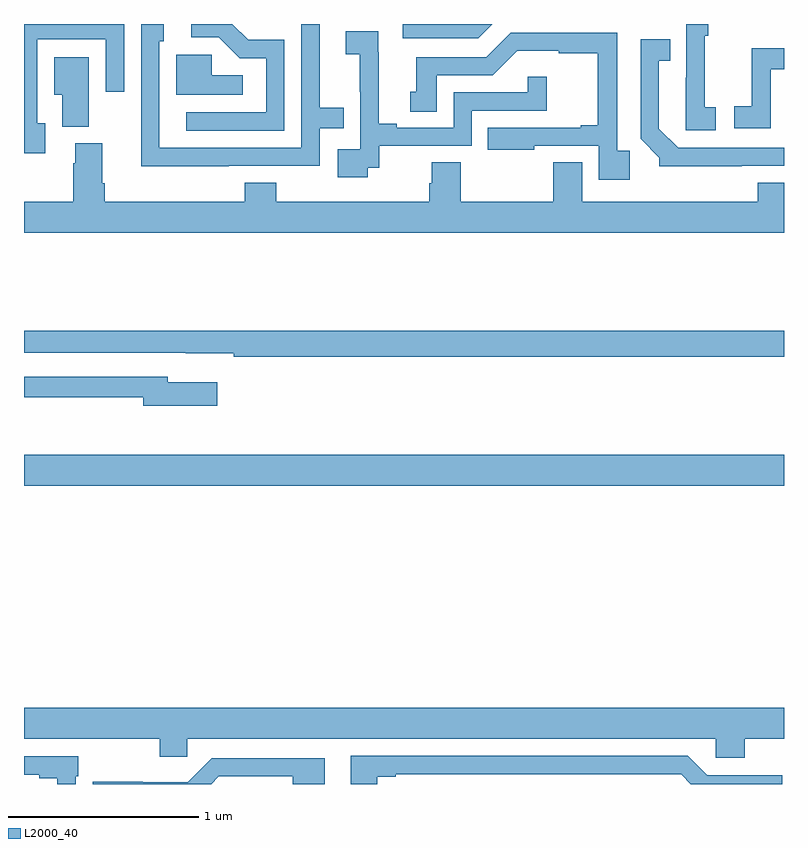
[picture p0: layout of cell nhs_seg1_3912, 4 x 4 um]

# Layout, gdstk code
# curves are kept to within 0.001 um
import gdstk
lib = gdstk.Library(unit=1e-6, precision=1e-09)
def R(c, l, rs):  # rectangles x0, y0, x1, y1
    for r in rs: c.add(gdstk.rectangle(r[:2], r[2:], *l))
def P(c, l, *ps):  # polygons
    for p in ps: c.add(gdstk.Polygon(p, *l))
L2000_40 = (2000, 40)

nhs_seg1_3912 = lib.new_cell('nhs_seg1_3912')
R(nhs_seg1_3912, L2000_40, [(325,515.768,329,515.932)])
P(nhs_seg1_3912, L2000_40, [(328.642,517.761),(328.584,517.761),(328.584,518.137),(328.601,518.137),(328.601,518.199),(328.485,518.199),(328.485,517.916),(328.484,517.916),(328.484,517.641),(328.642,517.641)],
  [(325.111,517.677),(325.071,517.677),(325.071,518.118),(325.431,518.118),(325.431,517.842),(325.527,517.842),(325.527,518.199),(325,518.199),(325,517.52),(325.111,517.52)],
  [(326.37,518.115),(326.181,518.115),(326.097,518.199),(325.881,518.199),(325.881,518.13),(326.025,518.13),(326.136,518.019),(326.274,518.019),(326.274,517.734),(325.854,517.734),(325.854,517.638),(326.37,517.638)],
  [(326.078,517.452),(326.556,517.452),(326.556,517.65),(326.684,517.65),(326.684,517.759),(326.557,517.759),(326.557,518.199),(326.46,518.199),(326.46,517.548),(325.713,517.548),(325.713,518.109),(325.735,518.109),(325.735,518.199),(325.617,518.199),(325.617,517.754),(325.616,517.754),(325.616,517.451),(326.078,517.451)],
  [(327.465,518.199),(326.994,518.199),(326.994,518.124),(327.39,518.124)],
  [(326.808,517.443),(326.87,517.443),(326.87,517.557),(327.357,517.557),(327.357,517.743),(327.752,517.743),(327.752,517.921),(327.651,517.921),(327.651,517.839),(327.261,517.839),(327.261,517.653),(326.962,517.653),(326.962,517.673),(326.866,517.673),(326.866,518.051),(326.864,518.051),(326.864,518.162),(326.694,518.162),(326.694,518.041),(326.768,518.041),(326.768,517.843),(326.769,517.843),(326.769,517.539),(326.652,517.539),(326.652,517.392),(326.808,517.392)],
  [(328.187,517.531),(328.122,517.531),(328.122,518.154),(327.561,518.154),(327.432,518.025),(327.065,518.025),(327.065,517.842),(327.032,517.842),(327.032,517.738),(327.172,517.738),(327.172,517.929),(327.468,517.929),(327.596,518.057),(327.815,518.057),(327.815,518.046),(328.021,518.046),(328.021,517.666),(327.929,517.666),(327.929,517.653),(327.442,517.653),(327.442,517.538),(327.685,517.538),(327.685,517.557),(328.026,517.557),(328.026,517.38),(328.187,517.38)],
  [(328.778,517.452),(329,517.452),(329,517.548),(328.443,517.548),(328.342,517.649),(328.342,518.006),(328.4,518.006),(328.4,518.119),(328.245,518.119),(328.245,517.594),(328.344,517.495),(328.344,517.451)],
  [(328.929,517.962),(329,517.962),(329,518.071),(328.831,518.071),(328.831,517.766),(328.737,517.766),(328.737,517.65),(328.929,517.65)],
  [(326.152,517.93),(325.989,517.93),(325.989,518.037),(325.802,518.037),(325.802,517.826),(326.152,517.826)],
  [(325.342,518.023),(325.16,518.023),(325.16,517.826),(325.202,517.826),(325.202,517.657),(325.342,517.657)],
  [(329,517.363),(328.862,517.363),(328.862,517.264),(327.937,517.264),(327.937,517.472),(327.785,517.472),(327.785,517.264),(327.299,517.264),(327.299,517.472),(327.146,517.472),(327.146,517.362),(327.134,517.362),(327.134,517.264),(326.327,517.264),(326.327,517.363),(326.162,517.363),(326.162,517.264),(325.424,517.264),(325.424,517.36),(325.411,517.36),(325.411,517.572),(325.271,517.572),(325.271,517.466),(325.259,517.466),(325.259,517.264),(325,517.264),(325,517.1),(329,517.1)],
  [(329,516.584),(325,516.584),(325,516.468),(325.852,516.468),(325.852,516.467),(326.104,516.467),(326.104,516.448),(329,516.448)],
  [(326.017,516.313),(325.756,516.313),(325.756,516.342),(325,516.342),(325,516.234),(325.628,516.234),(325.628,516.191),(326.017,516.191)],
  [(325,514.436),(325.714,514.436),(325.714,514.343),(325.86,514.343),(325.86,514.436),(328.641,514.436),(328.641,514.338),(328.793,514.338),(328.793,514.436),(329,514.436),(329,514.6),(325,514.6)],
  [(326.86,514.236),(326.956,514.236),(326.956,514.251),(328.458,514.251),(328.51,514.199),(328.99,514.199),(328.99,514.245),(328.596,514.245),(328.494,514.347),(326.72,514.347),(326.72,514.199),(326.86,514.199)],
  [(325.272,514.241),(325.285,514.241),(325.285,514.344),(325,514.344),(325,514.248),(325.079,514.248),(325.079,514.228),(325.175,514.228),(325.175,514.199),(325.272,514.199)],
  [(326.025,514.239),(326.414,514.239),(326.414,514.199),(326.584,514.199),(326.584,514.335),(325.989,514.335),(325.863,514.209),(325.625,514.209),(325.625,514.212),(325.362,514.212),(325.362,514.199),(325.985,514.199)])

lib.write_gds('nhs_seg1_3912.gds')
